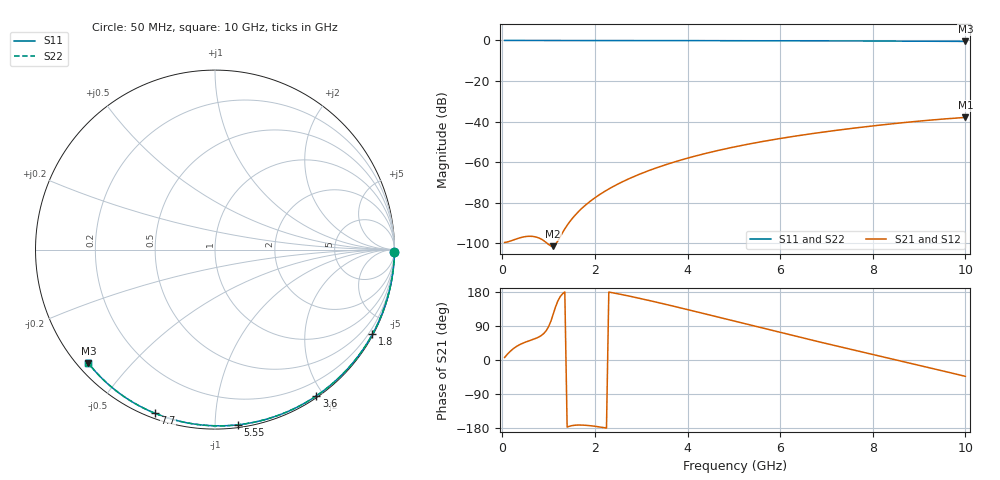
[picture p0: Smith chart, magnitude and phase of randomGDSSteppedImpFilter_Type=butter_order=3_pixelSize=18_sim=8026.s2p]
! freq	dB(S11)	phase(S11)	dB(S12)	phase(S12)
!  dB(S21)	phase(S21)	dB(S22)	phase(S22)
!S-par simulation data
#  GHz  S  DB  R 50
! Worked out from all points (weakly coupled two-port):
!   200 points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, 50 MHz to 10 GHz, reference 50 ohm
!   highest |S21| = -37.95 dB at 10 GHz (marker M1); lowest = -101.4 dB at 1.1 GHz (marker M2)
!   lowest |S11| = -0.5 dB at 10 GHz (marker M3), VSWR 37.22, Z = 1.54 - j19.2 ohm
!   |S11| at or under -10 dB: nowhere
!   |S22| runs from -0.5 to 0.0 dB; largest |S21 - S12| = 0
!   S11 on the Smith chart (normalised r, x): 50 MHz: open; 1.8 GHz: 0.03, -3.96; 3.6 GHz: 0.02, -1.91; 5.55 GHz: 0.02, -1.14; 7.7 GHz: 0.02, -0.70; 10 GHz: 0.03, -0.38
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0.05  -0.00 -0.8  -99.58 6.7  -99.58 6.7  -0.00 -0.8
0.55  -0.01 -8.8  -96.56 49.4  -96.56 49.4  -0.01 -8.8
1.1  -0.02 -17.4  -101.41 120.9  -101.41 120.9  -0.02 -17.4
1.75  -0.04 -27.5  -82.09 -171.9  -82.09 -171.9  -0.04 -27.5
1.8  -0.04 -28.3  -81.09 -172.3  -81.09 -172.3  -0.04 -28.3
1.85  -0.04 -29.1  -80.15 -172.8  -80.15 -172.8  -0.04 -29.1
2.15  -0.04 -33.7  -75.26 -177.6  -75.26 -177.6  -0.04 -33.7
2.35  -0.05 -36.7  -72.55 178.2  -72.55 178.2  -0.05 -36.7
2.55  -0.05 -39.8  -70.16 173.5  -70.16 173.5  -0.05 -39.8
2.95  -0.06 -45.7  -66.05 163.1  -66.05 163.1  -0.06 -45.7
3.4  -0.07 -52.4  -62.22 150.6  -62.22 150.6  -0.07 -52.4
3.6  -0.07 -55.3  -60.72 144.8  -60.72 144.8  -0.07 -55.3
3.9  -0.08 -59.6  -58.66 136.0  -58.66 136.0  -0.08 -59.6
4.3  -0.09 -65.3  -56.20 124.1  -56.20 124.1  -0.09 -65.3
5.05  -0.12 -75.7  -52.30 101.4  -52.30 101.4  -0.12 -75.7
5.55  -0.14 -82.5  -50.10 86.3  -50.10 86.3  -0.14 -82.5
6.1  -0.16 -89.8  -47.96 69.8  -47.96 69.8  -0.16 -89.8
6.7  -0.19 -97.6  -45.90 52.0  -45.90 52.0  -0.19 -97.6
7.7  -0.25 -110.2  -42.93 23.2  -42.93 23.2  -0.25 -110.1
8.35  -0.30 -118.1  -41.25 4.6  -41.25 4.6  -0.30 -118.1
9.2  -0.38 -128.4  -39.35 -19.8  -39.35 -19.8  -0.38 -128.4
10  -0.47 -138.1  -37.95 -43.1  -37.95 -43.1  -0.47 -138.1
